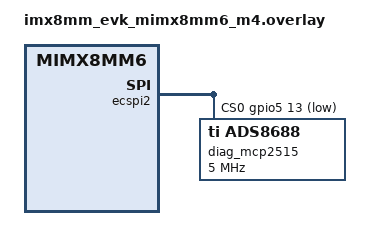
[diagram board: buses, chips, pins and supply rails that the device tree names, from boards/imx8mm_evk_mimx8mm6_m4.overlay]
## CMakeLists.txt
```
cmake_minimum_required(VERSION 3.20.0)
find_package(Zephyr REQUIRED HINTS $ENV{ZEPHYR_BASE})
project(int_diag)
target_sources(app PRIVATE src/main.c)
```

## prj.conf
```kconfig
# adc-test — ADS8688 (ECSPI2 の 2 個目の CS) の疎通確認アプリ。
# Zephyr に ADS8688 ドライバは無い (v4.3 時点で確認済み) ため raw SPI で叩く。
# 値は carrier-board-design.md の ESP32 実績 (SPI 5MHz mode1、8ch×16bit)。
CONFIG_SPI=y
CONFIG_GPIO=y
CONFIG_MAIN_STACK_SIZE=2048
CONFIG_PRINTK=y

# remoteproc (imx_rproc, 6.12) は .resource_table の無い ELF を start すると
# カーネル Oops → start を書いた ssh セッションごと死ぬ (kmm-yocto pitfalls
# 実測 — 本アプリの開発中にも再踏した)。rpmsg は使わないが、テーブルを ELF に
# 持たせるためだけに OPENAMP_RSC_TABLE を有効化する (can-gw と同じ供給源)。
CONFIG_OPENAMP=y
CONFIG_OPENAMP_RSC_TABLE=y
CONFIG_OPENAMP_MASTER=n
CONFIG_HEAP_MEM_POOL_SIZE=2048
```

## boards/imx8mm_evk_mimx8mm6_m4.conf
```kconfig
# (board 固有設定は今のところ無し。クロックは main.c の SYS_INIT が
#  CCGR domain1 self-serve で立てる — can-gw と同じ流儀)
```

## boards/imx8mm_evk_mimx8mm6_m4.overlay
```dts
/*
 * XPI-iMX8MM + ADS8688 実験配線 (carrier-board-design.md の 40 ピン割り付け):
 *   19/21/23 = ECSPI2 MOSI/MISO/SCLK (can-gw と同じ共有バス)
 *   15 (SAI5_RXD0 = GPIO3_IO21) = ADS8688 CS   ← GPIO3 バンク = RDC 許可済み
 *   24 (ECSPI2_SS0 = GPIO5_IO13) = MCP2515 CS  ← 共有バス同居時はデアサート必須
 *
 * CS はネイティブでなく GPIO 運用 (can-gw と同じ理由: mcux ECSPI はネイティブ
 * CS だとマルチバッファ転送の途中で CS がパルスする実測問題)。
 * SPI 5MHz / mode1 は ESP32 版 data-logger の実績値。
 */
/ {
	/* MCP2515 (HAT) の CS を High に張り付けるための参照 */
	aliases { };
};

&pinctrl {
	ecspi2_adc: ecspi2_adc {
		group0 {
			pinmux = <&iomuxc_ecspi2_sclk_ecspi_sclk_ecspi2_sclk>,
				 <&iomuxc_ecspi2_mosi_ecspi_mosi_ecspi2_mosi>,
				 <&iomuxc_ecspi2_miso_ecspi_miso_ecspi2_miso>,
				 <&iomuxc_sai5_rxd0_gpio_io_gpio3_io21>,	/* ADS8688 CS */
				 <&iomuxc_ecspi2_ss0_gpio_io_gpio5_io13>;	/* MCP2515 CS (デアサート用) */
			slew-rate = "fast";
			drive-strength = "x6";
		};
	};
};

&gpio3 {
	status = "okay";
};

&gpio5 {
	status = "okay";
};

&ecspi2 {
	status = "okay";
	pinctrl-0 = <&ecspi2_adc>;
	pinctrl-names = "default";
	/* reg=0 → GPIO5_IO13 (MCP2515)。int-diag は MCP2515 だけを raw SPI で読む */
	cs-gpios = <&gpio5 13 GPIO_ACTIVE_LOW>;

	/* raw SPI 扱いなので compatible はバインディング流用 (adc-test と同じ手。
	 * CONFIG_CAN は無効なので microchip,mcp2515 でもドライバは bind しない) */
	diag_mcp2515: mcp2515diag@0 {
		compatible = "ti,ads8688";
		reg = <0>;
		spi-max-frequency = <5000000>;
		status = "okay";
	};
};
```

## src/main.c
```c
/*
 * int-diag — MCP2515 の INT 線 (J62 pin22 = GPIO3_IO24) とレジスタの診断。
 *
 * 背景 (2026-08-24): CAN の物理送受信が「初回 TX 1 発のみ・RX 全滅・
 * エラーなし」で止まる。TX 完了/RX 通知はどちらも INT 経由なので INT 線
 * 不達が疑い。M4 は GPIO3 の RDC 上の正当な所有者なので、ここから直接
 * レベルとレジスタを突き合わせて「HAT / ボード / 配線 / ソフト」を切り分ける。
 *
 * 見るもの (1 秒毎に UART4 へ):
 *   - INT ピンの現在レベル (期待: 割り込みペンディング時 Low)
 *   - エッジ割り込みカウンタ (線にエッジが来ているか)
 *   - MCP2515 レジスタ (raw SPI READ 0x03): CANSTAT/CANINTF/EFLG/TEC/REC
 *     → CANINTF に要因が立っているのに INT=High なら HAT 出力〜pin22 の断線
 *
 * 使い方: ホストから mock CAN を流しながら scripts/try.sh int-diag で仮ロード。
 * リブートで can-gw に戻る。
 */
#include <zephyr/kernel.h>
#include <zephyr/device.h>
#include <zephyr/drivers/spi.h>
#include <zephyr/drivers/gpio.h>
#include <zephyr/sys/printk.h>

#define DBG ((volatile uint32_t *)0x20000100)

/* --- CCGR domain1 self-serve (can-gw と同一。kmm-yocto pitfalls #25) --- */
#define CCM_CCGR_ECSPI2_SET  0x30384084u
#define CCM_CCGR_GPIO3_SET   0x303840D4u
#define CCM_CCGR_GPIO5_SET   0x303840F4u
#define CCM_CCGR_UART4_SET   0x303844C4u

static int m4_clocks_enable(void)
{
	*(volatile uint32_t *)CCM_CCGR_ECSPI2_SET = 0x3333;
	*(volatile uint32_t *)CCM_CCGR_GPIO3_SET = 0x3333;
	*(volatile uint32_t *)CCM_CCGR_GPIO5_SET = 0x3333;
	*(volatile uint32_t *)CCM_CCGR_UART4_SET = 0x3333;
	*(volatile uint32_t *)0x3033050Cu = 0x2;	/* UART4_RXD input daisy */
	/* ECSPI2 を白紙から (前任 M4 の SPI 途中 stop 対策、adc-test と同一) */
	*(volatile uint32_t *)0x30830008u = 0;
	return 0;
}
SYS_INIT(m4_clocks_enable, PRE_KERNEL_1, 0);

/* MCP2515: mode0 (CPOL=0 CPHA=0)、8bit、CS は cs-gpios (GPIO5_IO13) */
static const struct spi_dt_spec mcp = SPI_DT_SPEC_GET(
	DT_NODELABEL(diag_mcp2515),
	SPI_OP_MODE_MASTER | SPI_WORD_SET(8) | SPI_TRANSFER_MSB, 0);

static int mcp_read_reg(uint8_t addr, uint8_t *val)
{
	uint8_t tx[3] = { 0x03, addr, 0 };	/* READ */
	uint8_t rx[3] = { 0 };
	const struct spi_buf txb = { .buf = tx, .len = sizeof(tx) };
	const struct spi_buf rxb = { .buf = rx, .len = sizeof(rx) };
	const struct spi_buf_set txs = { .buffers = &txb, .count = 1 };
	const struct spi_buf_set rxs = { .buffers = &rxb, .count = 1 };
	int ret = spi_transceive_dt(&mcp, &txs, &rxs);

	if (ret == 0 && val != NULL)
		*val = rx[2];
	return ret;
}

static volatile uint32_t edge_count;

static void int_edge_cb(const struct device *dev, struct gpio_callback *cb,
			uint32_t pins)
{
	edge_count++;
}

static struct gpio_callback int_cb_data;

int main(void)
{
	const struct device *gpio3 = DEVICE_DT_GET(DT_NODELABEL(gpio3));
	uint8_t canstat = 0, canintf = 0, eflg = 0, tec = 0, rec = 0;
	int ret, lvl, i;

	DBG[0] = 0x1D1A0001;
	printk("M4: int-diag (MCP2515 INT=GPIO3_IO24, regs via raw SPI)\n");

	/* ADS8688 (共有バスの相方) の CS を High に張ってデアサート */
	gpio_pin_configure(gpio3, 21, GPIO_OUTPUT_HIGH);

	/* INT ピン: 入力 + 両エッジ割り込みカウンタ */
	ret = gpio_pin_configure(gpio3, 24, GPIO_INPUT);
	printk("int-diag: gpio3.24 input cfg rc=%d\n", ret);
	ret = gpio_pin_interrupt_configure(gpio3, 24, GPIO_INT_EDGE_BOTH);
	printk("int-diag: edge irq cfg rc=%d\n", ret);
	gpio_init_callback(&int_cb_data, int_edge_cb, BIT(24));
	gpio_add_callback(gpio3, &int_cb_data);

	if (!spi_is_ready_dt(&mcp)) {
		printk("int-diag: SPI not ready\n");
		return 0;
	}

	/* 陽性対照: 溜まっている割り込み要因をクリアして INT を High に戻す。
	 * mock の次のフレーム受信で High->Low エッジが発生するはずなので、
	 * edges が増えれば「GPIO3_IO24 のエッジ割り込み配送」は正常と言える */
	{
		uint8_t tx[4] = { 0x02, 0x2C, 0x00, 0x00 };	/* WRITE CANINTF=0 */
		const struct spi_buf txb = { .buf = tx, .len = 3 };
		const struct spi_buf_set txs = { .buffers = &txb, .count = 1 };
		spi_write_dt(&mcp, &txs);
		/* EFLG の RX0OVR/RX1OVR (bit7:6) を BIT MODIFY でクリア */
		uint8_t tx2[4] = { 0x05, 0x2D, 0xC0, 0x00 };
		const struct spi_buf txb2 = { .buf = tx2, .len = 4 };
		const struct spi_buf_set txs2 = { .buffers = &txb2, .count = 1 };
		spi_write_dt(&mcp, &txs2);
		printk("int-diag: cleared CANINTF/EFLG (expect INT High then edges)\n");
	}

	for (i = 0; ; i++) {
		lvl = gpio_pin_get_raw(gpio3, 24);
		ret = mcp_read_reg(0x0E, &canstat);
		if (ret == 0) {
			mcp_read_reg(0x2C, &canintf);
			mcp_read_reg(0x2D, &eflg);
			mcp_read_reg(0x1C, &tec);
			mcp_read_reg(0x1D, &rec);
			printk("[%3d] INT=%d edges=%u | CANSTAT=%02x CANINTF=%02x "
			       "EFLG=%02x TEC=%u REC=%u\n",
			       i, lvl, edge_count, canstat, canintf, eflg, tec, rec);
		} else {
			printk("[%3d] INT=%d edges=%u | SPI err %d\n",
			       i, lvl, edge_count, ret);
		}
		DBG[1] = 0x1D1A0000 | (uint32_t)i;
		k_msleep(1000);
	}
	return 0;
}
```
